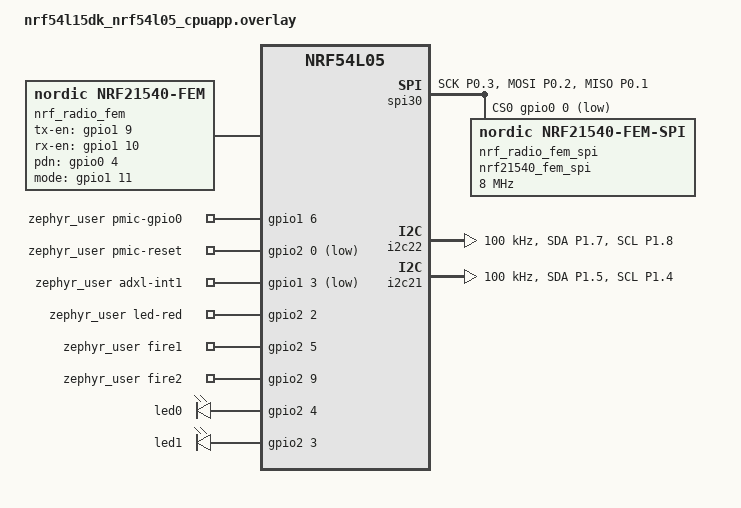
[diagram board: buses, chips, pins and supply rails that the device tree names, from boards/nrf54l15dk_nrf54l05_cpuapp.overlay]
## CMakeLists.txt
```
cmake_minimum_required(VERSION 3.20.0)

find_package(Zephyr REQUIRED HINTS $ENV{ZEPHYR_BASE})
project(class_mfs_1 LANGUAGES C CXX)

target_sources(app PRIVATE
  src/main.cpp
  src/app.cpp
  src/adxl367.cpp
  src/command_scanner.cpp
  src/command_advertiser.cpp
  src/npm2100.cpp
  src/output_switch.cpp
  src/npm2100_zephyr.cpp
  src/mfs_protocol.cpp
  src/access_keys.cpp
  src/credentials.cpp
  src/crypto_psa.cpp
  src/crypto_selftest.cpp
  src/access_store.cpp
  src/access_control.cpp
  src/device_clock.cpp
  src/settings.cpp
  src/led_sequencer.cpp
  src/led_indicator.cpp
  src/detection_engine.cpp
  src/arming_sequence.cpp
  src/fire_sequence.cpp
)
```

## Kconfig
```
mainmenu "Project CLASS Multi-Function Sensor 1 (nRF54L05)"

config MFS_SCAN_PERIOD_MS
	int "Passive scan period (milliseconds)"
	default 7245
	range 1000 10240
	help
	  How often the device wakes to scan. Valid range 1000-10240 ms: the
	  upper bound is the nRF54L HCI scan interval maximum, enforced by the
	  range above. A value past the uint16_t unit range would not even build:
	  the millisecond-to-0.625-ms-unit conversion in src/command_scanner.cpp
	  (value * 8 / 5 into a uint16_t) is a narrowing conversion inside a
	  braced initialiser, so a value whose converted result does not fit
	  fails to compile rather than wrapping silently. Above a few thousand ms
	  the cell's shelf life, not the radio, becomes the limiting factor.

	  The default 7245 ms (11592 BLE units, 7245.000 ms; owner, 2026-11-14)
	  replaces 5970 ms for battery life: the scan is ~90 % of the budget, and
	  the longer period took the measured 126.7 uA at 5970 ms to an estimated
	  ~106 uA (~1.3 -> ~1.55 years on a CR123A). It is the centre of the
	  passing island 11570-11613 units (7231.25-7258.125 ms, 44 units wide - wider
	  than 5970 ms's 29), found with --sweep --max-interval-ms 320. At N = 4
	  (floor(29900 / 7245)) the script reports zero steady misses against the
	  Mac's 187.5 ms and every Apple interval up to 318.75 ms, and under 10 ms
	  advDelay jitter 0-1.4 % (centred) / 0.15-1.8 % (one-sided). The worst-case
	  wait for a command rises from ~6 s to ~7.3 s. The statement below that no
	  island survives N = 4 was wrong for intervals up to 318.75 ms and is
	  withdrawn; the production Android interval is still to be measured and
	  checked against this period.

	  History. 5970 ms (9552 BLE units, 5970.000 ms) replaced preset 5's
	  6000 ms from the ladder in docs/v1-scope.md section 7.1. 6000 ms is
	  exactly 32 x 187.5 ms, the advertising interval measured from a macOS
	  advertiser, so every scan landed at the same phase of its cycle and a
	  command was caught on almost every scan or on almost none. An earlier
	  choice of 5906 ms fixed that but was proved unsound by a brute-force
	  simulation: it still misses 35 % of commands against Apple's
	  recommended 211.25 ms interval. A later choice, 5876 ms, passed the
	  simulation but sat only 3 BLE units from the edge of its passing
	  island.

	  The period is now chosen and verified by simulation, not a closed-form
	  rule: tools/scan_phase_check.py sweeps 2000 start phases per interval
	  and reports the fraction of commands that every one of the N scans
	  inside a 30 s burst would miss, N = floor((30000 - window) / period).
	  N = 5 needs a period of at most 5980 ms; past 5980 N drops to 4 (the
	  claim that no island survives N = 4 was withdrawn 2026-11-14). 9552 units was the middle of the
	  passing island 9537-9565 units (15 units of margin below, 13 above),
	  found with --sweep, so a one-unit build or clock error cannot tip it
	  into a failing phase the way 9401 (5876 ms) could have. At 5970 ms it
	  reports zero misses against the measured macOS interval (187.5 ms) and
	  every Apple interval up to 318.75 ms. A PASS holds for a steady
	  interval; a steady-interval PASS can miss a few percent under real
	  advDelay jitter (5970 ms: 1.3 % measured Mac 187.5 ms; up to ~6 %
	  against Apple's nominal intervals; scan reliability amendment
	  section 2). Intervals from about 5 x the 100 ms window
	  upward (roughly 500 ms and beyond) cannot be fully covered by any
	  period at N = 5 - the app's foreground-only sending, which keeps the
	  counterpart advertising fast, is what protects those cases, not this
	  period. Run the script before changing this value or adding a newly
	  measured interval; there is no formula to hand-check against instead.
	  The longer period versus 5876 ms also lowers the scan terms of the
	  ~69 uA budget slightly, since 5970 ms sits closer to the unconstrained
	  6000 ms optimum: it raises the budget by only 6000/5970, about 0.5 %,
	  against 5876 ms's 2.1 %.

config MFS_SCAN_WINDOW_MS
	int "Passive scan window (milliseconds)"
	default 100
	help
	  How long each scan listens. The counterpart is not a single 20-50 ms
	  advertising interval: the phone repeats the SAME command advert roughly
	  every 187 ms for a 30 s burst per Send (~160 repeats - see
	  docs/tan-scheme.md section 6, design spec section 3), so a 100 ms window
	  has many scan wakes across that burst to catch it, not just one.
	  Shortening this window trades detection reliability, not latency.

config MFS_ADXL_INACTIVITY_SECS
	int "ADXL367 loop inactivity time (seconds)"
	default 5
	help
	  Stillness required before the ADXL367 activity engine re-arms. This is
	  also the LED B timeout — the hardware loop does the timing, so there is
	  no software timer.

config MFS_ADXL_THRESHOLD
	int "ADXL367 referenced-activity threshold (13-bit) - UNUSED"
	default 300
	help
	  UNUSED. Grepping src/ and boards/ finds no reference to
	  CONFIG_MFS_ADXL_THRESHOLD at all - the threshold is entirely superseded
	  by the engineer-settable sensitivity byte (Settings::ThresholdLsb(),
	  default 143 -> 302 LSB, see src/settings.cpp), which every
	  ConfigureLoopMode() call now uses instead. This option is dead and kept
	  only for reference pending removal.

	  Deviation from the reference that counts as motion.

	  SCALE: 0.25 mg per LSB on the +/-2 g range, so 300 = 75 mg. The register
	  is 13-bit, giving a usable range of 1 to 8191 (0.25 mg to ~2 g).

	  alc_drawer_master uses 150 (37.5 mg) for a cupboard door. 300 was chosen
	  here as a less twitchy starting point for the anti-tamper role; tune it
	  against real handling of the installed product.

	  Referenced mode only — never Absolute, or the vertical gravity component
	  latches the part awake permanently. See docs/v1-scope.md section 3.

config MFS_ADXL_INACTIVITY_THRESHOLD
	int "ADXL367 referenced-inactivity threshold (13-bit)"
	default 8191
	help
	  MUST be wide enough to cover any orientation change, which is up to 2 g
	  (an axis swinging from +1 g to -1 g). 8191 is 13-bit full scale, ~2 g.

	  DO NOT set this near the activity threshold. The inactivity reference is
	  captured when ACTIVITY fires, and the datasheet is explicit that in linked
	  and looped mode "the inactivity threshold cannot be continuously updated
	  ... the accelerometer does not detect inactivity until the acceleration
	  input returns to within the inactivity threshold". Set the board down in a
	  different orientation and it never returns: AWAKE sticks permanently and
	  the device stops triggering, silently.

	  At full scale, inactivity becomes a genuine "N seconds since the last
	  activity" timer, which is the specified behaviour and is immune to
	  orientation.

config MFS_ADXL_ACTIVITY_SAMPLES
	int "ADXL367 sustained samples required to latch activity"
	default 5
	help
	  TIME_ACT, in ODR samples. At the configured 100 Hz ODR, 5 samples is
	  50 ms of sustained motion above the threshold before activity latches.

	  This is the transient-rejection knob and it is cheap: it discriminates a
	  knock, a slammed door or a passing lorry from someone actually handling
	  the device, at the cost of the same delay in detection latency.
	  alc_drawer_master uses 2 (20 ms); alc_flush_master uses 20 samples at
	  25 Hz (800 ms) to reject cistern fill-valve transients.

config MFS_BATTERY_TEST
	bool "Battery-life test build: green becomes a periodic liveness blink"
	default n
	help
	  Replaces green's disarmed level (steady before the time sync, slow flash
	  after it) with a short blink once per scan period, so an unattended
	  device can be seen to be alive across a long battery test. Red and
	  orange are unchanged. The device still starts disarmed.

	  READ THIS BEFORE TRUSTING THE RESULT: the blink dominates the power
	  budget. At an assumed 2 mA of LED current, 500 ms every 5970 ms is 8.38%
	  duty, i.e. ~168 uA against a ~69 uA operating budget - so the measurement
	  becomes mostly a measurement of the LED. See docs/battery-test.md.

config MFS_BLINK_MS
	int "Liveness blink duration (milliseconds)"
	default 500
	depends on MFS_BATTERY_TEST
	help
	  Rounded down to the 100 ms main-loop poll interval.

	  SET TO 0 TO KEEP GREEN DARK - not blinking, and not lit as the disarmed
	  indicator either. That is the setting for a true measurement. Red and
	  orange still work, so a disarmed test trigger (red) is the liveness check.

	  500 ms is highly visible but costs ~169 uA at 2 mA LED current. 100 ms
	  costs ~34 uA and is still clearly visible; 10 ms would cost ~3 uA but
	  needs the loop poll shortened to resolve it. Lower this if the aim is to
	  measure the scan rather than the LED.

config MFS_SCAN_DIAG
	bool "Log scan reception counts and discarded command IDs (bench only)"
	default n
	help
	  Bench diagnostic for commands that are advertised but never acted on.
	  Once per second in which anything was received, logs how many adverts
	  and how many single 128-bit service UUIDs the scanner delivered; and for
	  every UUID the access check discards as not for this device, logs its
	  first four on-air bytes. Tells "not received" apart from "received and
	  silently discarded". Leave off in production - it reveals reception.

config MFS_DIAG_BOOST_PASSTHROUGH
	bool "Force the nPM2100 boost into pass-through (bench measurement only)"
	default n
	help
	  BENCH MEASUREMENT ONLY - never in a device that may fire. Forces the
	  boost into pass-through at boot, so the battery feeds the load directly
	  and a PPK2 in series with the cell shows the true load current instead
	  of the boost's input pulses. While forced, the boost cannot raise the
	  fire supply: VOUT follows the battery. Measure disarmed.
	  Every build sets the boost mode at boot (Auto when this is n), because
	  nPM2100 registers survive an SoC reset and a reflash.

config MFS_DEBUG_DETECTION_LOG
	bool "Log detection met / cleared transitions (bench only)"
	default y
	help
	  Logs each transition of the detection signal - the engine's trigger or a
	  rehearsal FIRE's window - in either arm state. While disarmed nothing
	  else logs a test trigger, so without it a test shows "Activation 3 of 3."
	  and then silence.

	  Logging only. The LEDs behave identically in every build: green while
	  disarmed and red for a simulated firing are production behaviour (see
	  docs/superpowers/specs/2026-11-12-three-led-indication-design.md).
	  Replaces CONFIG_MFS_DEBUG_LED, whose LED meaning was removed.

config ALC_DEVICE_SERIAL
	string "Device serial number"
	default "MFS1-0000-00000"
	help
	  CLASS serial, MODEL-MMYY-NNNNN: a 4-character model (MFS1), the month
	  and year made (MMYY), and the number in that batch as 5 hex digits.
	  E.g. MFS1-0926-00001 is the first MFS_1 made in September 2026. One
	  more digit than the ALC HAH-MMYY-xxxx format. tools/gen_bench_credentials.py
	  rejects a serial that does not match.

config MFS_DEVICE_ID
	string "Device ID (8-char hex string)"
	default ""
	help
	  Public 32-bit identity bound into every key derivation, e.g. 4D465331.
	  Not secret and never transmitted. The Network Manager looks the device
	  up by it. See docs/tan-scheme.md section 3.

config MFS_DEVICE_SECRET
	string "Device secret (64-char hex string)"
	default ""
	help
	  32-byte per-device secret from which every day key is derived.
	  Loaded from credentials.conf (gitignored) for bench work only.
	  PRODUCTION MUST USE THE nRF54L05 KMU - a secret in the image is
	  readable, and a readable secret yields every day key for this device
	  forever. See docs/tan-scheme.md section 8.

config MFS_PROVISION_KEY
	string "Provisioning key (64-char hex string)"
	default ""
	help
	  32-byte per-device key authorising a time sync while the clock is
	  invalid, and nothing else. Must differ from MFS_DEVICE_SECRET so that a
	  compromised provisioner can cause denial of service but not entry. The
	  firmware refuses to enable commands if the two are equal. See
	  docs/tan-scheme.md section 8.1.

source "Kconfig.zephyr"
```

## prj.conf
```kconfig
# C++.
CONFIG_CPP=y
CONFIG_STD_CPP20=y
CONFIG_REQUIRES_FULL_LIBCPP=y

# GPIO for the state LEDs, the fire outputs and the sensor interrupts.
CONFIG_GPIO=y

# I2C: nPM2100 PMIC (0x74) on i2c21; ADXL367 (0x1D) and OPT3001 on i2c22.
CONFIG_I2C=y

CONFIG_CLOCK_CONTROL=y

# Logging over RTT (no UART).
CONFIG_LOG=y
CONFIG_USE_SEGGER_RTT=y
CONFIG_LOG_BACKEND_RTT=y
CONFIG_LOG_MODE_IMMEDIATE=y
# 1 KB (the default) overflows under BLE init plus any periodic logging, and in
# immediate mode the overflow is silent - output simply disappears. Diagnosed
# 2026-08-18 after a whole test cycle produced no usable log.
CONFIG_SEGGER_RTT_BUFFER_SIZE_UP=4096
CONFIG_LOG_BACKEND_UART=n
CONFIG_RTT_CONSOLE=n
CONFIG_UART_CONSOLE=n
CONFIG_SERIAL=n

CONFIG_MAIN_STACK_SIZE=4096

# BLE — OBSERVER by default: the device scans for one 128-bit service UUID (16
# bytes on air: rotating ID + ciphertext + CCM tag) from the engineer's phone,
# so there is no central role, no GATT and no SMP. See docs/tan-scheme.md
# section 6.1. Legacy scanning is sufficient for this payload.
CONFIG_BT=y
CONFIG_BT_OBSERVER=y
# BROADCASTER, not PERIPHERAL: CommandAdvertiser (command_advertiser.cpp) only
# ever calls bt_le_adv_start()/bt_le_adv_stop() for a brief NON-CONNECTABLE
# advertising burst on FIRE (see mfs_protocol Mode::ReportAndTrigger/ReportOnly)
# - there is still no connectable role, no GATT and no SMP, so BT_PERIPHERAL
# (which pulls in BT_CONN) is not needed. Legacy (non-extended) advertising is
# sufficient for one 31-byte AD structure, so CONFIG_BT_EXT_ADV is left at its
# default. Confirmed against Zephyr's bt_le_adv_start()/bt_le_adv_stop(), which
# compile only under CONFIG_BT_BROADCASTER (subsys/bluetooth/host/adv.c), and
# against samples/bluetooth/scan_adv, which combines Broadcaster and Observer
# on one controller - the same combination used here alongside CommandScanner.
# The device is otherwise scan-only: this never solicits contact except on FIRE.
CONFIG_BT_BROADCASTER=y

# nRF21540 FEM (pinout as alc_drawer_master, devicetree node nrf_radio_fem).
# MPSL drives it for every radio event: LNA (+13 dB, 2.9 mA) during each scan
# window, PA on the FIRE confirmation burst, powered down otherwise. POUTB
# (+10 dB) only, for Irish EIRP compliance: the controller splits the requested
# +10 dBm at the antenna into 0 dBm from the SoC plus 10 dB from the FEM. The LNA
# costs ~49 uA average at the 1.675% scan duty, about a year of battery life
# (docs/power-budget.md section 5); without it the device hears commands at
# ~5 m. Making it an app-set option is in docs/todo.md.
CONFIG_MPSL_FEM=y
CONFIG_MPSL_FEM_NRF21540_GPIO_SPI=y
CONFIG_MPSL_FEM_NRF21540_TX_GAIN_DB=10
CONFIG_BT_CTLR_TX_PWR_ANTENNA=10
# The builtin nRF21540 power model re-reads the on-chip temperature sensor this
# often to keep the TX gain accurate. Each update wakes the SoC (~4.6 mA spike on
# the PPK2, 2026-11-14); the default 2000 ms is more often than temperature
# changes, and TX here is only the FIRE confirmation burst (owner, 2026-11-14).
CONFIG_MPSL_FEM_BUILTIN_POWER_MODEL_UPDATE_PERIOD=5000
# RX thread stack. The scan callback deliberately never logs - see the comment
# on s_dropped in command_scanner.cpp, logging on this thread at a rate an
# outsider controls is not safe - so this matches alc_drawer_master's sizing
# rather than the Kconfig default. Dropped-candidate counts are logged later,
# from the main loop, never from this thread.
CONFIG_BT_RX_STACK_SIZE=2048

# Crypto for the day-key scheme: HMAC-SHA256 for key derivation, rotating IDs
# and the time-sync tag; AES-128-CCM with a 4-byte tag for commands.
# Hardware-accelerated via CRACEN on the nRF54L05. See docs/tan-scheme.md.
CONFIG_PSA_WANT_ALG_HMAC=y
CONFIG_PSA_WANT_ALG_SHA_256=y
CONFIG_PSA_WANT_KEY_TYPE_HMAC=y
CONFIG_PSA_WANT_ALG_CCM=y
CONFIG_PSA_WANT_KEY_TYPE_AES=y

# PSA allocates every imported key's buffer from the mbedtls heap, so without
# one psa_import_key() fails with PSA_ERROR_INSUFFICIENT_MEMORY (-141) and the
# boot self-test fails. alc_drawer_master never sets this because NCS implies it
# when Bluetooth host crypto is enabled (nrf/Kconfig.nrf: BT_ECC / BT_CRYPTO,
# pulled in by its peripheral + SMP role). MFS_1 is observer-only, so nothing
# implies it here and it must be explicit - as alc_hub does. Diagnosed
# 2026-09-14 on first boot of the day-key firmware. Keys are imported, used and
# destroyed one at a time (32-byte HMAC, 16-byte AES), so 2 KB is ample headroom.
CONFIG_MBEDTLS_ENABLE_HEAP=y
CONFIG_MBEDTLS_HEAP_SIZE=2048

# NVS / Settings for the persistent state: the access state (day index + next
# sequence number per slot - AccessState, src/access_control.hpp) and the
# engineer settings record. See docs/tan-scheme.md section 6.2 — day keys
# expire at the 04:00 boundary, so no per-day history is kept.
CONFIG_FLASH=y
CONFIG_FLASH_PAGE_LAYOUT=y
CONFIG_FLASH_MAP=y
CONFIG_NVS=y
CONFIG_SETTINGS=y
CONFIG_SETTINGS_NVS=y

# Bench default: log detection transitions. Logging only - the LEDs are the same
# in every build. Production: n.
CONFIG_MFS_DEBUG_DETECTION_LOG=y
# Bench diagnostic: scan reception counts and discarded command IDs. Production: n.
CONFIG_MFS_SCAN_DIAG=n

# Battery-life test mode is OFF, so green shows the disarmed state: steady until
# the time sync, then 500 ms on / 2500 ms off. Armed, every LED is dark.
#
# Green costs ~170-330 uA while flashing (owner-accepted, 2026-11-12, until the
# app's display-status option), and nothing while armed.
#
# For the LED-free measurement build used to obtain the 75 uA / 68 uA figures in
# docs/power-budget.md, set:
#     CONFIG_MFS_BATTERY_TEST=y
#     CONFIG_MFS_BLINK_MS=0
# which keeps green dark. See docs/battery-test.md.
CONFIG_MFS_BATTERY_TEST=n
```

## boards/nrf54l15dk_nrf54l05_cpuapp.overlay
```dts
/*
 * Project CLASS MFS_1 pin map — CLASS MFS hardware, first full revision
 * (2026-11-10). nRF54L05 + nPM2100 + ADXL367 + OPT3001 + nRF21540 FEM.
 *
 * SPI (spi30) - nRF21540 FEM:   SCK P0.03, MOSI P0.02, MISO P0.01, CS P0.00.
 * nRF21540 control:             PDN P0.04, TX_EN P1.09, RX_EN P1.10, MODE P1.11.
 *                               Pinout as alc_drawer_master; MPSL drives it.
 * I²C 1 (i2c21) - nPM2100:      SCL P1.04, SDA P1.05, addr 0x74.
 * I²C 2 (i2c22) - ADXL367:      SCL P1.08, SDA P1.07, addr 0x1D.
 *                 OPT3001:      same bus (not used by v1 firmware).
 * LEDs:                         LED1 red P2.02 (zephyr,user led-red-gpios),
 *                               LED2 orange P2.03 (led1), LED3 green P2.04 (led0).
 * Fire outputs:                 FIRE_1 P2.05, FIRE_2 P2.09 (see zephyr,user).
 * ADXL367 INT1:                 P1.03 — wakes the SoC.
 * ADXL367 INT2:                 P1.13 — routed to the SoC, NOT to the nPM2100
 *                               SHPHLD pin as on alc_drawer_master. Unused.
 * OPT3001 INT:                  P1.12 (unused).
 * ANTI_TAMP button:             P1.02, pulled high, active low (unused by v1).
 * nPM2100 host signals:         GPIO0 P1.06, GPIO1 P2.01, RESET P2.00 (unused by firmware).
 *                               (GPIO_1 is P2.01, not P2.02 - the board pin list
 *                               had a typo, corrected by the owner 2026-11-12.)
 *
 * GPIO active levels for PMIC_RESET and the interrupt inputs are inherited
 * assumptions from alc_drawer_master; confirm against the PMIC / ADXL pin
 * configuration once driven.
 */

&pinctrl {
    /* ─── i2c21 → nPM2100 ─── */
    i2c21_default: i2c21_default {
        group1 {
            psels = <NRF_PSEL(TWIM_SDA, 1, 5)>,
                    <NRF_PSEL(TWIM_SCL, 1, 4)>;
            bias-pull-up;
        };
    };

    i2c21_sleep: i2c21_sleep {
        group1 {
            psels = <NRF_PSEL(TWIM_SDA, 1, 5)>,
                    <NRF_PSEL(TWIM_SCL, 1, 4)>;
            low-power-enable;
        };
    };

    /* ─── i2c22 → ADXL367 + OPT3001 ─── */
    i2c22_default: i2c22_default {
        group1 {
            psels = <NRF_PSEL(TWIM_SDA, 1, 7)>,
                    <NRF_PSEL(TWIM_SCL, 1, 8)>;
            bias-pull-up;
        };
    };

    i2c22_sleep: i2c22_sleep {
        group1 {
            psels = <NRF_PSEL(TWIM_SDA, 1, 7)>,
                    <NRF_PSEL(TWIM_SCL, 1, 8)>;
            low-power-enable;
        };
    };

    /* ─── spi30 → nRF21540 FEM ───
     * spi30, not spi22: P0 is in the 30-series peripheral/clock domain on
     * nRF54L, and spi22 silently cannot reach P0 pads even though pinctrl
     * writes succeed (alc_drawer_master). */
    spi30_default: spi30_default {
        group1 {
            psels = <NRF_PSEL(SPIM_SCK,  0, 3)>,
                    <NRF_PSEL(SPIM_MOSI, 0, 2)>,
                    <NRF_PSEL(SPIM_MISO, 0, 1)>;
        };
    };

    spi30_sleep: spi30_sleep {
        group1 {
            psels = <NRF_PSEL(SPIM_SCK,  0, 3)>,
                    <NRF_PSEL(SPIM_MOSI, 0, 2)>,
                    <NRF_PSEL(SPIM_MISO, 0, 1)>;
            low-power-enable;
        };
    };
};

&spi30 {
    status = "okay";
    pinctrl-0 = <&spi30_default>;
    pinctrl-1 = <&spi30_sleep>;
    pinctrl-names = "default", "sleep";
    cs-gpios = <&gpio0 0 GPIO_ACTIVE_LOW>;

    nrf_radio_fem_spi: nrf21540_fem_spi@0 {
        compatible = "nordic,nrf21540-fem-spi";
        status = "okay";
        reg = <0>;
        spi-max-frequency = <8000000>;
    };
};

&i2c22 {
    status = "okay";
    pinctrl-0 = <&i2c22_default>;
    pinctrl-1 = <&i2c22_sleep>;
    pinctrl-names = "default", "sleep";
    clock-frequency = <I2C_BITRATE_STANDARD>;
};

/* The DK console UART20 sits on P1.04 / P1.05 — the nPM2100 I2C bus here. */
&uart20 {
    status = "disabled";
};

&i2c21 {
    status = "okay";
    pinctrl-0 = <&i2c21_default>;
    pinctrl-1 = <&i2c21_sleep>;
    pinctrl-names = "default", "sleep";
    clock-frequency = <I2C_BITRATE_STANDARD>;
};

/* The DK board files fit an onboard Macronix MX25R64 external flash on spi00 and
 * enable it by default. The bespoke board has no such part, so enabling
 * CONFIG_FLASH for NVS made the spi_nor driver probe a device that is not there
 * and log on every boot:
 *
 *   <err> spi_nor: Device id 00 00 00 does not match config c2 28 17
 *
 * Harmless, but a permanent spurious error trains you to ignore real ones. NVS
 * lives in the nRF54L05's internal RRAM, not here. Disable the flash node and the
 * bus it sits on — spi00 is not used by this design either.
 */
&mx25r64 {
    status = "disabled";
};

&spi00 {
    status = "disabled";
};

/ {
    /* nRF21540 front-end module. MPSL finds it by the nrf_radio_fem label and
     * drives it for every radio event: PA on transmit, LNA on receive, powered
     * down (PDN low, 45 nA) otherwise. Until 2026-11-12 the firmware believed
     * the FEM was not fitted and never declared it, so it sat powered down in
     * the RF path: range was ~5 m on the ground (tools/range_pong). There is
     * no bypass mode - the LNA must be on for the device to hear commands.
     * Cost: docs/power-budget.md section 5. */
    nrf_radio_fem: nrf21540_fem {
        compatible  = "nordic,nrf21540-fem";
        tx-en-gpios = <&gpio1  9 GPIO_ACTIVE_HIGH>;
        rx-en-gpios = <&gpio1 10 GPIO_ACTIVE_HIGH>;
        pdn-gpios   = <&gpio0  4 GPIO_ACTIVE_HIGH>;
        mode-gpios  = <&gpio1 11 GPIO_ACTIVE_HIGH>;
        spi-if      = <&nrf_radio_fem_spi>;
        /* Required by the nRF21540 built-in power model, or the build fails.
         * 3000 mV as every Nordic reference design; the FEM runs from VOUT. */
        supply-voltage-mv = <3000>;
    };

    /* Application-side control GPIOs that don't belong to a standard driver
     * binding. Access from C++ via e.g.:
     *   GPIO_DT_SPEC_GET(DT_PATH(zephyr_user), adxl_int1_gpios)
     */
    zephyr_user: zephyr,user {
        pmic-gpio0-gpios = <&gpio1 6 GPIO_ACTIVE_HIGH>;
        pmic-reset-gpios = <&gpio2 0 GPIO_ACTIVE_LOW>;
        adxl-int1-gpios  = <&gpio1 3 (GPIO_ACTIVE_LOW | GPIO_PULL_UP)>;

        /* LED1, red. Active-high is assumed, like LED2 and LED3 - verify on
         * first power-up (bench checklist): the wrong polarity lights red
         * throughout Armed. The DK's nRF54L05 board files define only led0
         * and led1, so it lives here rather than as led2. */
        led-red-gpios = <&gpio2 2 GPIO_ACTIVE_HIGH>;

        /* ─── FIRE OUTPUT — THE DEVICE'S ACTUAL OUTPUT ───
         *
         * Fire1 and Fire2 form ONE logical channel. They are not a set/reset
         * pair and must never be driven independently. On assert, FIRE_1 goes
         * first and FIRE_2 follows 10 ms later (the firing order this hardware
         * revision requires); they always clear together. In the product
         * this output switches a voltage, so only alc::OutputSwitch may touch
         * these pins — it owns them privately and exposes Enable(), Set() and
         * Disable() alone. Nothing else may take a handle to them.
         *
         * ACTIVE_HIGH because both lines carry external 10k pull-downs. That
         * makes the hardware fail-safe through reset: the nRF54L brings GPIOs up
         * high-Z, so the pull-downs hold the output de-energised. Firmware keeps
         * it that way: the pins have NO driver (GPIO_DISCONNECTED) whenever the
         * device is not armed. Boot only reads each pin as a plain input (it
         * must read low) and disconnects it; the pins become outputs —
         * GPIO_OUTPUT_INACTIVE only, never GPIO_OUTPUT_ACTIVE — as the last step
         * of arming, and every disarm drives them low and disconnects them
         * again. See docs/superpowers/specs/2026-09-14-arming-sequence-amendment.md.
         *
         * !!! BOTH PINS ARE CLAIMED BY THE DK BOARD FILES AND ARE ONLY FREE HERE
         * !!! BECAUSE OF TWO OVERRIDES MADE FOR UNRELATED REASONS:
         *
         *   P2.05 is spi00's cs-gpios (external-flash chip select). It is free
         *         only because &spi00 is disabled below — a change made to
         *         silence a spurious spi_nor probe error, not for this.
         *         RE-ENABLING spi00 WOULD HAND FIRE1 TO THE SPI DRIVER AS A CHIP
         *         SELECT AND TOGGLE IT ON EVERY TRANSACTION.
         *
         *   P2.09 is the DK's led0 ("Green LED 0"). It is free only because
         *         &led0 is remapped to P2.04 below to match the bespoke board.
         *
         * Do not re-enable spi00 or remove the led0 override without moving
         * these pins first.
         */
        fire1-gpios = <&gpio2 5 GPIO_ACTIVE_HIGH>;
        fire2-gpios = <&gpio2 9 GPIO_ACTIVE_HIGH>;
    };
};

/* Release P1.02 / P1.03 from the NFC peripheral so they can be used as
 * GPIOs (ANTI_TAMP and ADXL INT1 on this board). Without this UICR property, the NFCT block
 * owns those pads and any GPIO writes have no effect on the physical pin.
 * Setting this property bakes the bit into the UICR hex at build time. */
&uicr {
    nfct-pins-as-gpios;
};

/* Override DK's LED pins to match the bespoke board.
 * The DK's nRF54L05 variant only defines led0 and led1 (no led2/led3).
 * led0 = LED3 green, led1 = LED2 orange. LED1 red is led-red-gpios in zephyr,user. */
&led0 {
    gpios = <&gpio2 4 GPIO_ACTIVE_HIGH>;
};

&led1 {
    gpios = <&gpio2 3 GPIO_ACTIVE_HIGH>;
};

/* HFXO trim, inherited from alc_drawer_master. CL = 8 pF (Kyocera CX2016DB,
 * f_tol +/- 15 ppm, f_tem +/- 20 ppm).
 *
 * Trimmed 2026-05-28 on that board, residual +1.27 ppm at 2440 MHz, 25 degC
 * (CONFIG_HFXO_TRIM=y). Layout sensitivity ~9.3 ppm/pF;
 * load-capacitance-femtofarad must be a multiple of 250 fF per the
 * nordic,nrf54l-hfxo binding enum.
 *
 * NOTE: that trim was measured on the Drawer Master board, with the FEM in TX
 * state. MFS_1 also has the FEM, but its layout differs, so re-verify the
 * residual on this board before relying on it.
 */
&hfxo {
    load-capacitance-femtofarad = <14000>;
};

/*
 * LFXO — 32.768 kHz crystal, confirmed fitted on the bespoke board.
 *
 * This is the timebase for TAN day indexing, so its accuracy is a security
 * parameter, not just a convenience (docs/tan-scheme.md section 8.4). No Kconfig
 * is needed to select it: CONFIG_CLOCK_CONTROL_NRF_K32SRC_XTAL and
 * CONFIG_NRF_GRTC_TIMER_SOURCE_LFXO are already the defaults for this target.
 *
 * Crystal: Abracon ABS06N-32.768kHz-9-T. The "-9-" field is the specified load
 * capacitance, CL = 9 pF, hence 9000 fF below.
 *
 * The property is the crystal's load capacitance, not a raw register value. Per
 * the nRF54L15 PS, quoted in zephyr/soc/nordic/nrf54l/soc.c:
 *   CAPVALUE = round((2*CAPACITANCE - 12) * (SLOPE + 0.765625*2^9)/2^9 + OFFSET/2^6)
 *   where CAPACITANCE is the desired capacitor value in pF, 4-18 pF in 0.5 pF steps.
 * The "-12" is the device subtracting its own pin/package contribution, and the
 * FICR XOSC32KTRIM slope/offset apply the per-die factory trim.
 *
 * The value is stated EXPLICITLY rather than inherited, because silently
 * inheriting the DK's 17000 fF is precisely how this went unexamined in
 * alc_drawer_master. That value corresponds to a 17 pF crystal; against this
 * board's 9 pF part it over-capacitates by 8 pF, which pulls the oscillator
 * roughly 45-50 ppm SLOW (estimate assumes ABS06N-typical C0 ~1.2 pF,
 * C1 ~2.2 fF) — about 25 minutes lost per year, on top of the crystal's own
 * tolerance.
 *
 * !!! STILL TO TRIM BY MEASUREMENT. 9000 fF is the nominal value from the part
 * number, not a measured one. Board stray capacitance shifts the optimum: note
 * that &hfxo above sits at 14000 fF against a nominally 8 pF crystal after
 * trimming on this same board. Measure and record the residual here, as was done
 * for &hfxo.
 *
 * A mispulled LFXO will not show up as a fault: Bluetooth LE tolerates up to
 * 500 ppm of sleep-clock error, so links work normally at 100 ppm and nothing
 * complains. Only accumulated drift reveals it. See docs/power-budget.md 8.5.2.
 */
&lfxo {
    load-capacitors = "internal";
    load-capacitance-femtofarad = <9000>;
};
```

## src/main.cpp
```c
#include "app.hpp"

namespace
{
  alc::App s_app;
}

int main()
{
  return s_app.Run();
}
```

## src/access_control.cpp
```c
#include <cerrno>
#include <cstring>

#include "access_control.hpp"

namespace alc
{

  namespace
  {
    // The largest n whose full window cannot overflow. Unreachable in practice -
    // four billion commands in a day - but an overflow would wrap the window
    // back onto spent sequence numbers, which is a replay.
    constexpr uint32_t M_SEQUENCE_LIMIT { UINT32_MAX - AccessControl::M_WINDOW };

    struct Candidate
    {
        uint8_t slot;
        uint8_t offset;
        uint32_t n;
    };

    // A rotating-ID collision needs several candidates, but 512 in 2^32 per
    // advert means more than a handful is never going to happen.
    constexpr uint8_t M_MAX_CANDIDATES { 4 };
  }

  AccessControl::AccessControl(uint32_t deviceId, const uint8_t* secret, PersistFn persist, void* context)
      : m_device_id(deviceId)
      , m_secret(secret)
      , m_persist(persist)
      , m_persist_context(context)
      , m_state {}
      , m_tables_ready(false)
      , m_day_keys {}
      , m_expected_ids {}
      , m_window_size {}
      , m_failed_ids {}
      , m_mismatch_shown {}
      , m_id_failures {}
      , m_failures(0)
      , m_locked(false)
      , m_lockout_until_secs(0)
      , m_lockout_secs(M_LOCKOUT_INITIAL_SECS)
  {}

  void AccessControl::Restore(const AccessState& state)
  {
    m_state        = state;
    m_tables_ready = false;
  }

  void AccessControl::SetDeviceId(uint32_t deviceId)
  {
    m_device_id    = deviceId;
    m_tables_ready = false;
  }

  int AccessControl::rebuildSlot(uint8_t slot)
  {
    uint32_t base { m_state.next[slot] };
    uint8_t size { 0 };
    int result { 0 };

    // The acceptance window stops exactly where it always did. Only the
    // recognise-only look-ahead shrinks near the limit, so no derived n wraps.
    if (base <= M_SEQUENCE_LIMIT) { size = (UINT32_MAX - base < M_LOOKAHEAD) ? static_cast<uint8_t>(UINT32_MAX - base) : M_LOOKAHEAD; }

    for (uint8_t offset = 0; offset < size; offset++) {
      result = access::DeriveRotatingId(m_day_keys[slot], base + offset, m_expected_ids[slot][offset]);
      if (result < 0) { return result; }
    }
    m_window_size[slot]    = size;
    m_failed_ids[slot]     = 0;
    m_mismatch_shown[slot] = 0;
    memset(m_id_failures[slot], 0, sizeof(m_id_failures[slot]));
    return 0;
  }

  int AccessControl::prepareDay(uint16_t today, DeviceClock& clock)
  {
    AccessState previous { m_state };
    int result { 0 };

    if (m_tables_ready && today == m_state.day) { return 0; }

    // A new day: every slot starts again at zero, because the day keys are new.
    // Nothing about previous days is kept - their keys can no longer be derived
    // by the device, so their sequence numbers are dead weight.
    if (today > m_state.day) {
      m_state.day = today;
      memset(m_state.next, 0, sizeof(m_state.next));

      // Persist the rollover BEFORE building tables. If it cannot be saved the
      // day is not adopted, so no command can be accepted against unsaved state.
      result = m_persist(m_state, m_persist_context);
      if (result < 0) {
        m_state = previous;
        return result;
      }
    }

    // The floor follows the persisted day, never the other way round.
    clock.RaiseFloorDay(m_state.day);

    for (uint8_t slot = 0; slot < access::M_SLOT_COUNT; slot++) {
      result = access::DeriveDayKey(m_secret, m_device_id, m_state.day, slot, m_day_keys[slot]);
      if (result < 0) { return result; }
      result = rebuildSlot(slot);
      if (result < 0) { return result; }
    }

    m_tables_ready = true;
    return 0;
  }

  void AccessControl::recordFailure(int64_t uptimeSecs)
  {
    m_failures++;
    if (m_failures < M_LOCKOUT_THRESHOLD) { return; }

    // Doubling lockout, capped. Uptime rather than UTC, so a clock trim can
    // neither shorten nor extend it.
    m_locked             = true;
    m_lockout_until_secs = uptimeSecs + m_lockout_secs;
    m_lockout_secs       = m_lockout_secs * 2 > M_LOCKOUT_MAX_SECS ? M_LOCKOUT_MAX_SECS : m_lockout_secs * 2;
    m_failures           = 0;
  }

  AccessControl::Evaluation AccessControl::Evaluate(const uint8_t* onAir, uint8_t length, DeviceClock& clock, int64_t uptimeSecs)
  {
    Evaluation evaluation {};
    Candidate candidates[M_MAX_CANDIDATES] {};
    uint8_t candidateCount { 0 };
    uint8_t plaintext[protocol::M_PLAINTEXT_BYTES] {};
    uint16_t today { 0 };
    uint32_t previousNext { 0 };
    int result { 0 };
    bool authentic { false };
    bool ahead { false };

    if (onAir == nullptr || length < protocol::M_UUID_BYTES) { return evaluation; }

    // No trustworthy time, no day, no keys. See DeviceClock.
    if (!clock.IsValid()) {
      evaluation.verdict = Verdict::ClockInvalid;
      return evaluation;
    }

    today = clock.DayIndex(uptimeSecs);
    if (today < m_state.day) {
      // Cannot happen with a correct floor. Refuse rather than accept against a
      // day the device has already left.
      evaluation.verdict = Verdict::ClockInvalid;
      return evaluation;
    }

    result = prepareDay(today, clock);
    if (result < 0) {
      evaluation.verdict = Verdict::PersistFailed;
      return evaluation;
    }

    // Cheap filter first. Only a matching rotating ID costs a decryption, and
    // only a matching ID can count towards a lockout - an attacker without the
    // day key cannot predict one, so garbage cannot lock the engineer out.
    for (uint8_t slot = 0; slot < access::M_SLOT_COUNT; slot++) {
      for (uint8_t offset = 0; offset < m_window_size[slot]; offset++) {
        if (memcmp(m_expected_ids[slot][offset], &onAir[protocol::M_OFFSET_ROTATING_ID], protocol::M_ROTATING_ID_BYTES) != 0) { continue; }

        // A burned ID (M_MAX_ID_FAILURES wrong tags already) is treated exactly
        // like no match at all - not a candidate, not decrypted, not counted -
        // so an attacker who captured it cannot keep guessing its tag.
        if (m_id_failures[slot][offset] >= M_MAX_ID_FAILURES) { continue; }

        // An ahead ID already reported as a counter mismatch is skipped like a
        // burned one, so a replay of it shows nothing more (security review,
        // 2026-11-14).
        if (offset >= M_WINDOW && (m_mismatch_shown[slot] & (static_cast<uint64_t>(1) << offset)) != 0) { continue; }

        if (candidateCount < M_MAX_CANDIDATES) { candidates[candidateCount++] = Candidate { slot, offset, m_state.next[slot] + offset }; }
      }
    }

    if (candidateCount == 0) { return evaluation; }

    if (m_locked && uptimeSecs < m_lockout_until_secs) {
      evaluation.verdict = Verdict::LockedOut;
      return evaluation;
    }
    m_locked = false;

    // In-window candidates first, so a (vanishingly unlikely) ID collision with
    // an ahead ID can never displace a command the device should accept.
    for (uint8_t index = 1; index < candidateCount; index++) {
      for (uint8_t back = index; back > 0 && candidates[back].offset < M_WINDOW && candidates[back - 1].offset >= M_WINDOW; back--) {
        Candidate swap { candidates[back - 1] };
        candidates[back - 1] = candidates[back];
        candidates[back]     = swap;
      }
    }

    for (uint8_t index = 0; index < candidateCount && !authentic; index++) {
      result = access::OpenCommand(m_day_keys[candidates[index].slot], m_device_id, m_state.day, candidates[index].slot, candidates[index].n, onAir,
                                   plaintext);
      if (result == 0) {
        authentic       = true;
        ahead           = candidates[index].offset >= M_WINDOW;
        evaluation.slot = candidates[index].slot;
        evaluation.n    = candidates[index].n;
      } else if (result != -EBADMSG) {
        evaluation.verdict = Verdict::CryptoError;
        return evaluation;
      }
    }

    if (!authentic) {
      // Count each expected ID at most once towards the lockout. An attacker who
      // captures an unaccepted command can corrupt and resend it, but only that
      // ID (not every copy) counts, so a lockout requires 20 distinct IDs.
      bool newFailure { false };
      for (uint8_t index = 0; index < candidateCount; index++) {
        uint64_t bit { static_cast<uint64_t>(1) << candidates[index].offset };

        // AHEAD IDs NEVER COUNT TOWARDS THE LOCKOUT (security review, 2026-11-14).
        // A slot exposes only M_WINDOW (16) acceptable IDs, fewer than the 20 the
        // lockout needs, so an eavesdropper replaying a phone's unheard Sends with
        // forged tags cannot lock the engineer out. The look-ahead must not widen
        // that: an ahead ID only burns itself (below).
        if (candidates[index].offset < M_WINDOW && (m_failed_ids[candidates[index].slot] & bit) == 0) {
          m_failed_ids[candidates[index].slot] |= bit;
          newFailure = true;
        }

        // The per-ID guess cap, unlike the bit above, keeps counting every
        // attempt against the SAME id - that is what lets it burn after
        // M_MAX_ID_FAILURES even though a resend no longer counts towards
        // the lockout.
        if (m_id_failures[candidates[index].slot][candidates[index].offset] < M_MAX_ID_FAILURES) {
          m_id_failures[candidates[index].slot][candidates[index].offset]++;
        }
      }
      if (newFailure) { recordFailure(uptimeSecs); }
      evaluation.verdict = Verdict::AuthFailed;
      return evaluation;
    }

    // Any authentic command clears the failure history.
    m_failures     = 0;
    m_lockout_secs = M_LOCKOUT_INITIAL_SECS;

    if (!protocol::DecodeCommand(plaintext, evaluation.command)) {
      evaluation.verdict = Verdict::Malformed;
      return evaluation;
    }

    // Freshness before consumption. A command captured, jammed and released
    // later fails here and stays unconsumed - which is harmless, because its
    // minute will never be fresh again and its key dies at 04:00.
    if (!clock.IsFresh(evaluation.command.minuteOfDay, uptimeSecs)) {
      evaluation.verdict = Verdict::Stale;
      return evaluation;
    }

    // COUNTER MISMATCH. Authentic and fresh, but past the window: recognised so
    // the caller can show it, and NEVER consumed or acted on - the acceptance
    // rules are exactly as before (owner, 2026-11-14).
    if (ahead) {
      // Once per sequence number: recorded only now, for an authentic, fresh,
      // well-formed command, so a stale copy cannot use up the report.
      m_mismatch_shown[evaluation.slot] |= static_cast<uint64_t>(1) << (evaluation.n - m_state.next[evaluation.slot]);
      evaluation.verdict = Verdict::AheadOfWindow;
      return evaluation;
    }

    // PERSIST BEFORE ACTING. Reversed, a power loss between acting and saving
    // would leave the command replayable.
    previousNext                  = m_state.next[evaluation.slot];
    m_state.next[evaluation.slot] = evaluation.n + 1;
    result                        = m_persist(m_state, m_persist_context);
    if (result < 0) {
      m_state.next[evaluation.slot] = previousNext;
      evaluation.verdict            = Verdict::PersistFailed;
      return evaluation;
    }

    // A failed rebuild leaves stale IDs in the table, so force a full rebuild
    // on the next evaluation rather than trust it.
    if (rebuildSlot(evaluation.slot) < 0) { m_tables_ready = false; }
    evaluation.verdict = Verdict::Accepted;
    return evaluation;
  }

  int AccessControl::Advance(DeviceClock& clock, int64_t uptimeSecs)
  {
    uint16_t today { 0 };

    if (!clock.IsValid()) { return 0; }

    today = clock.DayIndex(uptimeSecs);
    if (today < m_state.day) { return -EINVAL; }

    return prepareDay(today, clock);
  }

}
```

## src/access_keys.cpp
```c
#include <cerrno>
#include <cstring>

#include "access_keys.hpp"

namespace alc::access
{

  namespace
  {
    void putBe32(uint8_t* out, uint32_t value)
    {
      out[0] = static_cast<uint8_t>(value >> 24);
      out[1] = static_cast<uint8_t>(value >> 16);
      out[2] = static_cast<uint8_t>(value >> 8);
      out[3] = static_cast<uint8_t>(value);
    }

    void putBe16(uint8_t* out, uint16_t value)
    {
      out[0] = static_cast<uint8_t>(value >> 8);
      out[1] = static_cast<uint8_t>(value);
    }

    void buildAad(const uint8_t* onAir, uint8_t* aad)
    {
      // The version is NEVER on air. Both sides supply it, so a payload from
      // another protocol version fails authentication instead of mis-parsing.
      memcpy(aad, &onAir[protocol::M_OFFSET_ROTATING_ID], protocol::M_ROTATING_ID_BYTES);
      aad[protocol::M_ROTATING_ID_BYTES] = protocol::M_PROTOCOL_VERSION;
    }
  }

  int DeriveDayKey(const uint8_t* secret, uint32_t deviceId, uint16_t day, uint8_t slot, uint8_t* dayKey)
  {
    constexpr uint8_t M_MESSAGE_BYTES { 8 };
    uint8_t message[M_MESSAGE_BYTES] {};

    putBe32(&message[0], deviceId);
    putBe16(&message[4], day);
    message[6] = slot;
    message[7] = M_LABEL_DAY_KEY;
    return crypto::HmacSha256(secret, M_SECRET_BYTES, message, sizeof(message), dayKey);
  }

  int DeriveEncKey(const uint8_t* dayKey, uint8_t* encKey)
  {
    const uint8_t message[] { M_LABEL_ENC_KEY };
    uint8_t mac[crypto::M_HMAC_SHA256_BYTES] {};
    int result { crypto::HmacSha256(dayKey, M_DAY_KEY_BYTES, message, sizeof(message), mac) };

    if (result < 0) { return result; }
    memcpy(encKey, mac, crypto::M_AES128_KEY_BYTES);
    return 0;
  }

  int DeriveRotatingId(const uint8_t* dayKey, uint32_t n, uint8_t* rotatingId)
  {
    constexpr uint8_t M_MESSAGE_BYTES { 5 };
    uint8_t message[M_MESSAGE_BYTES] {};
    uint8_t mac[crypto::M_HMAC_SHA256_BYTES] {};
    int result { 0 };

    putBe32(&message[0], n);
    message[4] = M_LABEL_ROTATING_ID;
    result     = crypto::HmacSha256(dayKey, M_DAY_KEY_BYTES, message, sizeof(message), mac);
    if (result < 0) { return result; }
    memcpy(rotatingId, mac, protocol::M_ROTATING_ID_BYTES);
    return 0;
  }

  int ConfirmId(const uint8_t* dayKey, uint32_t n, uint8_t event, uint8_t* confirmId)
  {
    constexpr uint8_t M_MESSAGE_BYTES { 6 };
    uint8_t message[M_MESSAGE_BYTES] {};
    uint8_t mac[crypto::M_HMAC_SHA256_BYTES] {};
    int result { 0 };

    putBe32(&message[0], n);
    message[4] = event;
    message[5] = M_LABEL_CONFIRM;
    result     = crypto::HmacSha256(dayKey, M_DAY_KEY_BYTES, message, sizeof(message), mac);
    if (result < 0) { return result; }
    memcpy(confirmId, mac, protocol::M_UUID_BYTES);
    return 0;
  }

  void BuildNonce(uint32_t deviceId, uint16_t day, uint8_t slot, uint32_t n, uint8_t* nonce)
  {
    putBe32(&nonce[0], deviceId);
    putBe16(&nonce[4], day);
    nonce[6] = slot;
    putBe32(&nonce[7], n);
  }

  int SealCommand(const uint8_t* dayKey, uint32_t deviceId, uint16_t day, uint8_t slot, uint32_t n, const uint8_t* plaintext, uint8_t* onAir)
  {
    uint8_t encKey[crypto::M_AES128_KEY_BYTES] {};
    uint8_t nonce[M_NONCE_BYTES] {};
    uint8_t aad[M_AAD_BYTES] {};
    int result { DeriveRotatingId(dayKey, n, &onAir[protocol::M_OFFSET_ROTATING_ID]) };

    if (result < 0) { return result; }
    result = DeriveEncKey(dayKey, encKey);
    if (result < 0) { return result; }

    BuildNonce(deviceId, day, slot, n, nonce);
    buildAad(onAir, aad);
    return crypto::AesCcmEncrypt(encKey, nonce, sizeof(nonce), aad, sizeof(aad), plaintext, protocol::M_PLAINTEXT_BYTES,
                                 &onAir[protocol::M_OFFSET_CIPHERTEXT], &onAir[protocol::M_OFFSET_TAG], protocol::M_TAG_BYTES);
  }

  int OpenCommand(const uint8_t* dayKey, uint32_t deviceId, uint16_t day, uint8_t slot, uint32_t n, const uint8_t* onAir, uint8_t* plaintext)
  {
    uint8_t encKey[crypto::M_AES128_KEY_BYTES] {};
    uint8_t nonce[M_NONCE_BYTES] {};
    uint8_t aad[M_AAD_BYTES] {};
    int result { DeriveEncKey(dayKey, encKey) };

    if (result < 0) { return result; }

    BuildNonce(deviceId, day, slot, n, nonce);
    buildAad(onAir, aad);
    return crypto::AesCcmDecrypt(encKey, nonce, sizeof(nonce), aad, sizeof(aad), &onAir[protocol::M_OFFSET_CIPHERTEXT], protocol::M_PLAINTEXT_BYTES,
                                 &onAir[protocol::M_OFFSET_TAG], protocol::M_TAG_BYTES, plaintext);
  }

  namespace
  {
    int timeSyncTag(const uint8_t* provisionKey, uint32_t deviceId, uint32_t unixSeconds, uint8_t* tag)
    {
      constexpr uint8_t M_MESSAGE_BYTES { 9 };
      uint8_t message[M_MESSAGE_BYTES] {};
      uint8_t mac[crypto::M_HMAC_SHA256_BYTES] {};
      int result { 0 };

      putBe32(&message[0], deviceId);
      putBe32(&message[4], unixSeconds);
      message[8] = M_LABEL_TIME_SYNC;
      result     = crypto::HmacSha256(provisionKey, M_SECRET_BYTES, message, sizeof(message), mac);
      if (result < 0) { return result; }
      memcpy(tag, mac, M_TIME_SYNC_TAG_BYTES);
      return 0;
    }
  }

  int BuildTimeSync(const uint8_t* provisionKey, uint32_t deviceId, uint32_t unixSeconds, uint8_t* onAir)
  {
    onAir[0] = static_cast<uint8_t>(unixSeconds);
    onAir[1] = static_cast<uint8_t>(unixSeconds >> 8);
    onAir[2] = static_cast<uint8_t>(unixSeconds >> 16);
    onAir[3] = static_cast<uint8_t>(unixSeconds >> 24);
    return timeSyncTag(provisionKey, deviceId, unixSeconds, &onAir[4]);
  }

  bool OpenTimeSync(const uint8_t* provisionKey, uint32_t deviceId, const uint8_t* onAir, uint32_t& unixSeconds)
  {
    uint8_t expected[M_TIME_SYNC_TAG_BYTES] {};
    uint32_t presented { static_cast<uint32_t>(onAir[0]) | (static_cast<uint32_t>(onAir[1]) << 8) | (static_cast<uint32_t>(onAir[2]) << 16) |
                         (static_cast<uint32_t>(onAir[3]) << 24) };

    if (timeSyncTag(provisionKey, deviceId, presented, expected) < 0) { return false; }
    if (!crypto::ConstantTimeEqual(expected, &onAir[4], M_TIME_SYNC_TAG_BYTES)) { return false; }

    unixSeconds = presented;
    return true;
  }

}
```

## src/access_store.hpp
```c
#pragma once

#include "access_control.hpp"

namespace alc::access_store
{

  /**
   * @brief Load the persisted access state.
   *
   * Requires settings_subsys_init() to have run.
   *
   * @param state Written only if a valid record exists.
   * @return 1 if a record was loaded, 0 if none exists (a first boot), negative errno on failure,
   *         including a record that exists but is invalid.
   */
  int Load(AccessState& state);

  /**
   * @brief AccessControl::PersistFn. Returns only once the write has completed.
   *
   * `context` is unused.
   */
  int Persist(const AccessState& state, void* context);

}
```
